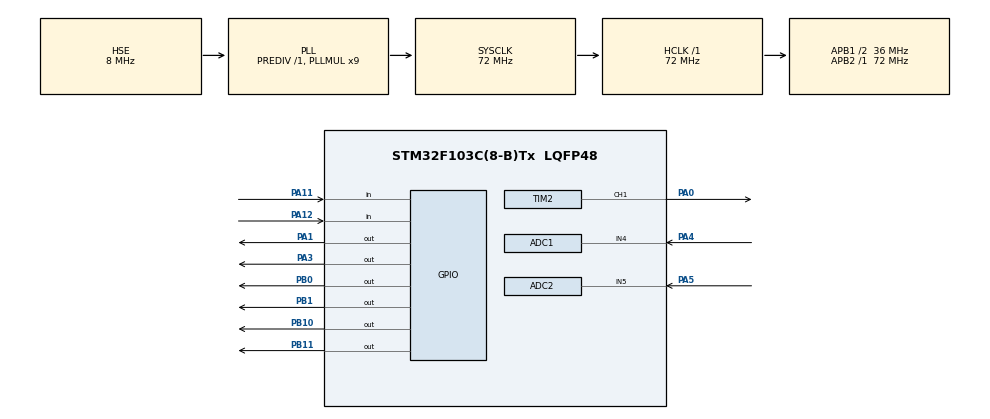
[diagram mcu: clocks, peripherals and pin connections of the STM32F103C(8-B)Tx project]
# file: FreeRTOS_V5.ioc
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ADC1.Channel-2\#ChannelRegularConversion=ADC_CHANNEL_4
ADC1.ContinuousConvMode=ENABLE
ADC1.NbrOfConversionFlag=1
ADC1.Rank-2\#ChannelRegularConversion=1
ADC1.SamplingTime-2\#ChannelRegularConversion=ADC_SAMPLETIME_1CYCLE_5
ADC1.master=1
ADC2.Channel-0\#ChannelRegularConversion=ADC_CHANNEL_5
ADC2.ContinuousConvMode=ENABLE
ADC2.NbrOfConversionFlag=1
ADC2.Rank-0\#ChannelRegularConversion=1
ADC2.SamplingTime-0\#ChannelRegularConversion=ADC_SAMPLETIME_1CYCLE_5
FREERTOS.Queues01=ThrottleQueue,32,uint32_t,0,Dynamic,NULL,NULL;BrakeQueue,32,uint32_t,0,Dynamic,NULL,NULL;GearQueue,16,char,0,Dynamic,NULL,NULL;SpeedQueue,32,uint32_t,0,Dynamic,NULL,NULL
FREERTOS.Tasks01=Throttle,40,128,ThrottleInput,Default,NULL,Dynamic,NULL,NULL;Brake,40,128,BrakeInput,Default,NULL,Dynamic,NULL,NULL;Gear,8,128,GearSelection,Default,NULL,Dynamic,NULL,NULL;Data,8,128,DataProcessing,Default,NULL,Dynamic,NULL,NULL;Display,8,128,OutputDisplay,Default,NULL,Dynamic,NULL,NULL
FREERTOS.configTOTAL_HEAP_SIZE=4096
Mcu.Family=STM32F1
Mcu.Name=STM32F103C(8-B)Tx
Mcu.Package=LQFP48
NVIC.PriorityGroup=NVIC_PRIORITYGROUP_4
NVIC.TIM1_UP_IRQn=true\:15\:0\:false\:false\:true\:false\:false\:true\:true
NVIC.TimeBase=TIM1_UP_IRQn
NVIC.TimeBaseIP=TIM1
PA0-WKUP.Signal=S_TIM2_CH1_ETR
PA1.Signal=GPIO_Output
PA11.Signal=GPIO_Input
PA12.Signal=GPIO_Input
PA13.Mode=Serial_Wire
PA13.Signal=SYS_JTMS-SWDIO
PA14.Mode=Serial_Wire
PA14.Signal=SYS_JTCK-SWCLK
PA3.Signal=GPIO_Output
PA4.Signal=ADCx_IN4
PA5.Signal=ADCx_IN5
PB0.Signal=GPIO_Output
PB1.Signal=GPIO_Output
PB10.Signal=GPIO_Output
PB11.Signal=GPIO_Output
PD0-OSC_IN.Mode=HSE-External-Oscillator
PD0-OSC_IN.Signal=RCC_OSC_IN
PD1-OSC_OUT.Mode=HSE-External-Oscillator
PD1-OSC_OUT.Signal=RCC_OSC_OUT
ProjectManager.HeapSize=0x200
ProjectManager.StackSize=0x400
ProjectManager.TargetToolchain=STM32CubeIDE
RCC.ADCPresc=RCC_ADCPCLK2_DIV6
RCC.AHBFreq_Value=72000000
RCC.APB1CLKDivider=RCC_HCLK_DIV2
RCC.APB1Freq_Value=36000000
RCC.APB1TimFreq_Value=72000000
RCC.APB2Freq_Value=72000000
RCC.APB2TimFreq_Value=72000000
RCC.HCLKFreq_Value=72000000
RCC.PLLMUL=RCC_PLL_MUL9
RCC.PLLSourceVirtual=RCC_PLLSOURCE_HSE
RCC.SYSCLKFreq_VALUE=72000000
RCC.SYSCLKSource=RCC_SYSCLKSOURCE_PLLCLK
RCC.USBFreq_Value=72000000
SH.ADCx_IN4.0=ADC1_IN4,IN4
SH.ADCx_IN5.0=ADC2_IN5,IN5
SH.S_TIM2_CH1_ETR.0=TIM2_CH1,PWM Generation1 CH1
TIM2.Channel-PWM\ Generation1\ CH1=TIM_CHANNEL_1
VP_FREERTOS_VS_CMSIS_V2.Mode=CMSIS_V2
VP_SYS_VS_tim1.Mode=TIM1
VP_TIM2_VS_ClockSourceINT.Mode=Internal
board=custom

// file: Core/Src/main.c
/* USER CODE BEGIN Header */
/**
  ******************************************************************************
  * @file           : main.c
  * @brief          : Main program body
  ******************************************************************************
  * @attention
  *
  * Copyright (c) 2022 STMicroelectronics.
  * All rights reserved.
  *
  * This software is licensed under terms that can be found in the LICENSE file
  * in the root directory of this software component.
  * If no LICENSE file comes with this software, it is provided AS-IS.
  *
  ******************************************************************************
  */
/* USER CODE END Header */
#include "main.h"
#include "cmsis_os.h"

/* USER CODE BEGIN Includes */
#include "lcd.h"
/* USER CODE END Includes */

ADC_HandleTypeDef hadc1;
ADC_HandleTypeDef hadc2;

TIM_HandleTypeDef htim2;

/* Definitions for Throttle */
osThreadId_t ThrottleHandle;
const osThreadAttr_t Throttle_attributes = {
  .name = "Throttle",
  .stack_size = 128 * 4,
  .priority = (osPriority_t) osPriorityHigh,
};
/* Definitions for Brake */
osThreadId_t BrakeHandle;
const osThreadAttr_t Brake_attributes = {
  .name = "Brake",
  .stack_size = 128 * 4,
  .priority = (osPriority_t) osPriorityHigh,
};
/* Definitions for Gear */
osThreadId_t GearHandle;
const osThreadAttr_t Gear_attributes = {
  .name = "Gear",
  .stack_size = 128 * 4,
  .priority = (osPriority_t) osPriorityLow,
};
/* Definitions for Data */
osThreadId_t DataHandle;
const osThreadAttr_t Data_attributes = {
  .name = "Data",
  .stack_size = 128 * 4,
  .priority = (osPriority_t) osPriorityLow,
};
/* Definitions for Display */
osThreadId_t DisplayHandle;
const osThreadAttr_t Display_attributes = {
  .name = "Display",
  .stack_size = 128 * 4,
  .priority = (osPriority_t) osPriorityLow,
};
/* Definitions for ThrottleQueue */
osMessageQueueId_t ThrottleQueueHandle;
const osMessageQueueAttr_t ThrottleQueue_attributes = {
  .name = "ThrottleQueue"
};
/* Definitions for BrakeQueue */
osMessageQueueId_t BrakeQueueHandle;
const osMessageQueueAttr_t BrakeQueue_attributes = {
  .name = "BrakeQueue"
};
/* Definitions for GearQueue */
osMessageQueueId_t GearQueueHandle;
const osMessageQueueAttr_t GearQueue_attributes = {
  .name = "GearQueue"
};
/* Definitions for SpeedQueue */
osMessageQueueId_t SpeedQueueHandle;
const osMessageQueueAttr_t SpeedQueue_attributes = {
  .name = "SpeedQueue"
};

void SystemClock_Config(void);
static void MX_GPIO_Init(void);
static void MX_ADC1_Init(void);
static void MX_ADC2_Init(void);
static void MX_TIM2_Init(void);
void ThrottleInput(void *argument);
void BrakeInput(void *argument);
void GearSelection(void *argument);
void DataProcessing(void *argument);
void OutputDisplay(void *argument);

/* USER CODE BEGIN 0 */
uint16_t throttle;
uint16_t brake;
uint16_t throttleMap;
uint16_t brakeMap;
char gear = 'N';

int brakeMapReceived = 0;
int throttleMapReceived = 0;
int gearReceived = 0;
int DesiredSpeedReceived = 0;

int DesiredSpeed = 0;
int MapDesiredSpeed = 0;
int AverageBrakePercentage = 0;
int AverageThrottlePercentage = 0;
int AverageBrakePercentageTotal = 0;
int AverageThrottlePercentageTotal = 0;
int AverageSpeed = 0;
int AverageSpeedTotal = 0;

/* USER CODE END 0 */

int main(void)
{

  /* MCU Configuration--------------------------------------------------------*/

  /* Reset of all peripherals, Initializes the Flash interface and the Systick. */
  HAL_Init();

  /* Configure the system clock */
  SystemClock_Config();

  /* Initialize all configured peripherals */
  MX_GPIO_Init();
  MX_ADC1_Init();
  MX_ADC2_Init();
  MX_TIM2_Init();
  /* USER CODE BEGIN 2 */
  HAL_ADC_Start(&hadc1);
  HAL_ADC_Start(&hadc2);
  HAL_TIM_PWM_Start(&htim2, TIM_CHANNEL_1);

  /* USER CODE END 2 */

  /* Init scheduler */
  osKernelInitialize();

  /* Create the queue(s) */
  /* creation of ThrottleQueue */
  ThrottleQueueHandle = osMessageQueueNew (32, sizeof(uint32_t), &ThrottleQueue_attributes);

  /* creation of BrakeQueue */
  BrakeQueueHandle = osMessageQueueNew (32, sizeof(uint32_t), &BrakeQueue_attributes);

  /* creation of GearQueue */
  GearQueueHandle = osMessageQueueNew (16, sizeof(char), &GearQueue_attributes);

  /* creation of SpeedQueue */
  SpeedQueueHandle = osMessageQueueNew (32, sizeof(uint32_t), &SpeedQueue_attributes);

  /* Create the thread(s) */
  /* creation of Throttle */
  ThrottleHandle = osThreadNew(ThrottleInput, NULL, &Throttle_attributes);

  /* creation of Brake */
  BrakeHandle = osThreadNew(BrakeInput, NULL, &Brake_attributes);

  /* creation of Gear */
  GearHandle = osThreadNew(GearSelection, NULL, &Gear_attributes);

  /* creation of Data */
  DataHandle = osThreadNew(DataProcessing, NULL, &Data_attributes);

  /* creation of Display */
  DisplayHandle = osThreadNew(OutputDisplay, NULL, &Display_attributes);

  /* Start scheduler */
  osKernelStart();

  /* We should never get here as control is now taken by the scheduler */
  /* Infinite loop */
  while (1)
  {

  }
}

void SystemClock_Config(void)
{
  RCC_OscInitTypeDef RCC_OscInitStruct = {0};
  RCC_ClkInitTypeDef RCC_ClkInitStruct = {0};
  RCC_PeriphCLKInitTypeDef PeriphClkInit = {0};

  /** Initializes the RCC Oscillators according to the specified parameters
  * in the RCC_OscInitTypeDef structure.
  */
  RCC_OscInitStruct.OscillatorType = RCC_OSCILLATORTYPE_HSE;
  RCC_OscInitStruct.HSEState = RCC_HSE_ON;
  RCC_OscInitStruct.HSEPredivValue = RCC_HSE_PREDIV_DIV1;
  RCC_OscInitStruct.HSIState = RCC_HSI_ON;
  RCC_OscInitStruct.PLL.PLLState = RCC_PLL_ON;
  RCC_OscInitStruct.PLL.PLLSource = RCC_PLLSOURCE_HSE;
  RCC_OscInitStruct.PLL.PLLMUL = RCC_PLL_MUL9;
  if (HAL_RCC_OscConfig(&RCC_OscInitStruct) != HAL_OK)
  {
    Error_Handler();
  }

  /** Initializes the CPU, AHB and APB buses clocks
  */
  RCC_ClkInitStruct.ClockType = RCC_CLOCKTYPE_HCLK|RCC_CLOCKTYPE_SYSCLK
                              |RCC_CLOCKTYPE_PCLK1|RCC_CLOCKTYPE_PCLK2;
  RCC_ClkInitStruct.SYSCLKSource = RCC_SYSCLKSOURCE_PLLCLK;
  RCC_ClkInitStruct.AHBCLKDivider = RCC_SYSCLK_DIV1;
  RCC_ClkInitStruct.APB1CLKDivider = RCC_HCLK_DIV2;
  RCC_ClkInitStruct.APB2CLKDivider = RCC_HCLK_DIV1;

  if (HAL_RCC_ClockConfig(&RCC_ClkInitStruct, FLASH_LATENCY_2) != HAL_OK)
  {
    Error_Handler();
  }
  PeriphClkInit.PeriphClockSelection = RCC_PERIPHCLK_ADC;
  PeriphClkInit.AdcClockSelection = RCC_ADCPCLK2_DIV6;
  if (HAL_RCCEx_PeriphCLKConfig(&PeriphClkInit) != HAL_OK)
  {
    Error_Handler();
  }
}

static void MX_ADC1_Init(void)
{

  ADC_ChannelConfTypeDef sConfig = {0};

  /** Common config
  */
  hadc1.Instance = ADC1;
  hadc1.Init.ScanConvMode = ADC_SCAN_DISABLE;
  hadc1.Init.ContinuousConvMode = DISABLE;
  hadc1.Init.DiscontinuousConvMode = DISABLE;
  hadc1.Init.ExternalTrigConv = ADC_SOFTWARE_START;
  hadc1.Init.DataAlign = ADC_DATAALIGN_RIGHT;
  hadc1.Init.NbrOfConversion = 1;
  if (HAL_ADC_Init(&hadc1) != HAL_OK)
  {
    Error_Handler();
  }

  /** Configure Regular Channel
  */
  sConfig.Channel = ADC_CHANNEL_4;
  sConfig.Rank = ADC_REGULAR_RANK_1;
  sConfig.SamplingTime = ADC_SAMPLETIME_1CYCLE_5;
  if (HAL_ADC_ConfigChannel(&hadc1, &sConfig) != HAL_OK)
  {
    Error_Handler();
  }

}

static void MX_ADC2_Init(void)
{

  ADC_ChannelConfTypeDef sConfig = {0};

  /** Common config
  */
  hadc2.Instance = ADC2;
  hadc2.Init.ScanConvMode = ADC_SCAN_DISABLE;
  hadc2.Init.ContinuousConvMode = ENABLE;
  hadc2.Init.DiscontinuousConvMode = DISABLE;
  hadc2.Init.ExternalTrigConv = ADC_SOFTWARE_START;
  hadc2.Init.DataAlign = ADC_DATAALIGN_RIGHT;
  hadc2.Init.NbrOfConversion = 1;
  if (HAL_ADC_Init(&hadc2) != HAL_OK)
  {
    Error_Handler();
  }

  /** Configure Regular Channel
  */
  sConfig.Channel = ADC_CHANNEL_5;
  sConfig.Rank = ADC_REGULAR_RANK_1;
  sConfig.SamplingTime = ADC_SAMPLETIME_1CYCLE_5;
  if (HAL_ADC_ConfigChannel(&hadc2, &sConfig) != HAL_OK)
  {
    Error_Handler();
  }

}

static void MX_TIM2_Init(void)
{

  TIM_ClockConfigTypeDef sClockSourceConfig = {0};
  TIM_MasterConfigTypeDef sMasterConfig = {0};
  TIM_OC_InitTypeDef sConfigOC = {0};

  htim2.Instance = TIM2;
  htim2.Init.Prescaler = 0;
  htim2.Init.CounterMode = TIM_COUNTERMODE_UP;
  htim2.Init.Period = 65535;
  htim2.Init.ClockDivision = TIM_CLOCKDIVISION_DIV1;
  htim2.Init.AutoReloadPreload = TIM_AUTORELOAD_PRELOAD_DISABLE;
  if (HAL_TIM_Base_Init(&htim2) != HAL_OK)
  {
    Error_Handler();
  }
  sClockSourceConfig.ClockSource = TIM_CLOCKSOURCE_INTERNAL;
  if (HAL_TIM_ConfigClockSource(&htim2, &sClockSourceConfig) != HAL_OK)
  {
    Error_Handler();
  }
  if (HAL_TIM_PWM_Init(&htim2) != HAL_OK)
  {
    Error_Handler();
  }
  sMasterConfig.MasterOutputTrigger = TIM_TRGO_RESET;
  sMasterConfig.MasterSlaveMode = TIM_MASTERSLAVEMODE_DISABLE;
  if (HAL_TIMEx_MasterConfigSynchronization(&htim2, &sMasterConfig) != HAL_OK)
  {
    Error_Handler();
  }
  sConfigOC.OCMode = TIM_OCMODE_PWM1;
  sConfigOC.Pulse = 0;
  sConfigOC.OCPolarity = TIM_OCPOLARITY_HIGH;
  sConfigOC.OCFastMode = TIM_OCFAST_DISABLE;
  if (HAL_TIM_PWM_ConfigChannel(&htim2, &sConfigOC, TIM_CHANNEL_1) != HAL_OK)
  {
    Error_Handler();
  }
  HAL_TIM_MspPostInit(&htim2);

}

static void MX_GPIO_Init(void)
{
  GPIO_InitTypeDef GPIO_InitStruct = {0};

  /* GPIO Ports Clock Enable */
  __HAL_RCC_GPIOD_CLK_ENABLE();
  __HAL_RCC_GPIOA_CLK_ENABLE();
  __HAL_RCC_GPIOB_CLK_ENABLE();

  /*Configure GPIO pin Output Level */
  HAL_GPIO_WritePin(GPIOA, GPIO_PIN_1|GPIO_PIN_3, GPIO_PIN_RESET);

  /*Configure GPIO pin Output Level */
  HAL_GPIO_WritePin(GPIOB, GPIO_PIN_0|GPIO_PIN_1|GPIO_PIN_10|GPIO_PIN_11, GPIO_PIN_RESET);

  /*Configure GPIO pins : PA1 PA3 */
  GPIO_InitStruct.Pin = GPIO_PIN_1|GPIO_PIN_3;
  GPIO_InitStruct.Mode = GPIO_MODE_OUTPUT_PP;
  GPIO_InitStruct.Pull = GPIO_NOPULL;
  GPIO_InitStruct.Speed = GPIO_SPEED_FREQ_LOW;
  HAL_GPIO_Init(GPIOA, &GPIO_InitStruct);

  /*Configure GPIO pins : PB0 PB1 PB10 PB11 */
  GPIO_InitStruct.Pin = GPIO_PIN_0|GPIO_PIN_1|GPIO_PIN_10|GPIO_PIN_11;
  GPIO_InitStruct.Mode = GPIO_MODE_OUTPUT_PP;
  GPIO_InitStruct.Pull = GPIO_NOPULL;
  GPIO_InitStruct.Speed = GPIO_SPEED_FREQ_LOW;
  HAL_GPIO_Init(GPIOB, &GPIO_InitStruct);

  /*Configure GPIO pins : PA11 PA12 */
  GPIO_InitStruct.Pin = GPIO_PIN_11|GPIO_PIN_12;
  GPIO_InitStruct.Mode = GPIO_MODE_INPUT;
  GPIO_InitStruct.Pull = GPIO_NOPULL;
  HAL_GPIO_Init(GPIOA, &GPIO_InitStruct);

}

void ThrottleInput(void *argument)
{
  /* USER CODE BEGIN 5 */
	uint16_t MAP(uint16_t au32_IN, uint16_t au32_INmin, uint16_t au32_INmax, uint16_t au32_OUTmin, uint16_t au32_OUTmax)
		{
		    return ((((au32_IN - au32_INmin)*(au32_OUTmax - au32_OUTmin))/(au32_INmax - au32_INmin)) + au32_OUTmin);
		}
  /* Infinite loop */
  for(;;)
  {
	  HAL_ADC_PollForConversion(&hadc2,1000);
	  throttle = HAL_ADC_GetValue(&hadc2);
	  throttleMap = MAP(brake, 0,4020,0,100);
	  if (throttleMap < 15)
	  {
		  throttleMap = 0;
	  }
	  osMessageQueuePut(ThrottleQueueHandle, &throttleMap,0,200);
    osDelay(10);
  }
  /* USER CODE END 5 */
}

void BrakeInput(void *argument)
{
  /* USER CODE BEGIN BrakeInput */
	uint16_t MAP(uint16_t au32_IN, uint16_t au32_INmin, uint16_t au32_INmax, uint16_t au32_OUTmin, uint16_t au32_OUTmax)
	{
	    return ((((au32_IN - au32_INmin)*(au32_OUTmax - au32_OUTmin))/(au32_INmax - au32_INmin)) + au32_OUTmin);
	}
  /* Infinite loop */
  for(;;)
  {
	  HAL_ADC_PollForConversion(&hadc2,1000);
	  brake = HAL_ADC_GetValue(&hadc2);
	  brakeMap = MAP(brake, 0,4020,0,100);
	  if (brakeMap < 15)
	  	  {
	  		  brakeMap = 0;
	  	  }
	  osMessageQueuePut(BrakeQueueHandle, &brakeMap,0,200);
    osDelay(10);
  }
  /* USER CODE END BrakeInput */
}

void GearSelection(void *argument)
{
  /* USER CODE BEGIN GearSelection */
  /* Infinite loop */
  for(;;)
  {
	  if (HAL_GPIO_ReadPin(GPIOA,GPIO_PIN_12)) //if bit0 == 1(which is bit4 in DIP) means car is parked
	 	  {
	 		  gear = 'P';
	 	  }
	 	  else //car is moving
	 	  {
	 		  if (HAL_GPIO_ReadPin(GPIOA,GPIO_PIN_11)) //bit1 means car is moving
	 		  {
	 			  gear = '2';
	 		  }
	 		  else
	 		  {
	 			  gear = '1';
	 		  }
	 	  }
	  osMessageQueuePut(GearQueueHandle,&gear,0,250);
    osDelay(1);
  }
  /* USER CODE END GearSelection */
}

void DataProcessing(void *argument)
{
  for(;;)
  {
    osDelay(1);
  }
}

void OutputDisplay(void *argument)
{
  for(;;)
  {
    osDelay(1);
  }
}

void HAL_TIM_PeriodElapsedCallback(TIM_HandleTypeDef *htim)
{
  if (htim->Instance == TIM1) {
    HAL_IncTick();
  }
}

void Error_Handler(void)
{
  __disable_irq();
  while (1)
  {
  }
}
